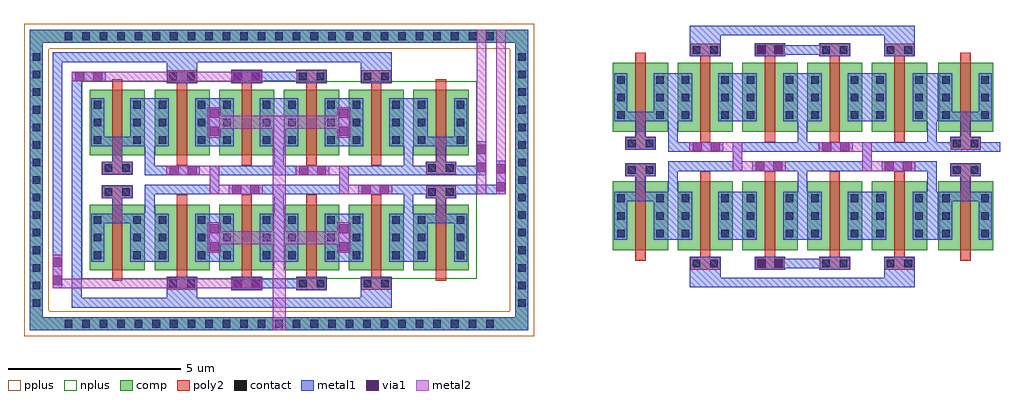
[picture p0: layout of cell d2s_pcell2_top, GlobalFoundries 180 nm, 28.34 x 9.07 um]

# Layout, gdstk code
import gdstk
lib = gdstk.Library(unit=1e-6, precision=5e-09)
def R(c, l, rs):  # rectangles x0, y0, x1, y1
    for r in rs: c.add(gdstk.rectangle(r[:2], r[2:], *l))
def A(c, l, x, y, w, h, nx, ny, dx, dy):  # array of equal rectangles
    R(c, l, [(x+i*dx, y+j*dy, x+i*dx+w, y+j*dy+h) for i in range(nx) for j in range(ny)])
comp = (22, 0)
poly2 = (30, 0)
pplus = (31, 0)
nplus = (32, 0)
contact = (33, 0)
metal1 = (34, 0)
via1 = (35, 0)
metal2 = (36, 0)

d2s_pcell2_1_1 = lib.new_cell('d2s_pcell2_1$1')
R(d2s_pcell2_1_1, comp, [(0,0.3,0.46,2.3), (0.46,0.3,1.14,2.3), (1.14,0.3,1.6,2.3)])
R(d2s_pcell2_1_1, poly2, [(0.65,0,0.95,2.6)])
A(d2s_pcell2_1_1, contact, 0.12, 0.68, 0.22, 0.22, 1, 3, 0, 0.51)
A(d2s_pcell2_1_1, contact, 1.26, 0.68, 0.22, 0.22, 1, 3, 0, 0.51)
R(d2s_pcell2_1_1, metal1, [(0.04,0.6,0.42,2), (1.18,0.6,1.56,2)])

d2s_pcell2_4 = lib.new_cell('d2s_pcell2_4')
A(d2s_pcell2_4, poly2, 2.245, 2.725, 0.87, 0.36, 4, 1, 1.88, 0)
R(d2s_pcell2_4, poly2, [(0.365,0.01,1.235,0.37), (9.805,0.01,10.675,0.37)])
R(d2s_pcell2_4, contact, [(0.435,0.08,0.655,0.3), (0.945,0.08,1.165,0.3), (9.875,0.08,10.095,0.3), (10.385,0.08,10.605,0.3), (2.315,2.795,2.535,3.015), (2.825,2.795,3.045,3.015), (4.195,2.795,4.415,3.015), (4.705,2.795,4.925,3.015), (6.075,2.795,6.295,3.015), (6.585,2.795,6.805,3.015), (7.955,2.795,8.175,3.015), (8.465,2.795,8.685,3.015)])
A(d2s_pcell2_4, metal1, 1.56, 0.825, 0.36, 1.4, 5, 1, 1.88, 0)
R(d2s_pcell2_4, metal1, [(0.355,0,1.245,0.38), (9.795,0,10.685,0.38), (2.235,2.715,3.125,3.605), (4.115,2.715,5.005,3.095), (5.995,2.715,6.885,3.095), (7.875,2.715,8.765,3.605)])
R(d2s_pcell2_4, via1, [(4.17,2.775,4.43,3.035), (4.69,2.775,4.95,3.035)])
d2s_pcell2_4.add(gdstk.FlexPath([(0.8,0.38),(0.8,0.825)], 0.28, ends="flush", simple_path=True, layer=34, datatype=0))  # metal1
d2s_pcell2_4.add(gdstk.FlexPath([(1.18,0.965),(0.42,0.965)], 0.28, ends="flush", simple_path=True, layer=34, datatype=0))  # metal1
d2s_pcell2_4.add(gdstk.FlexPath([(10.24,0.38),(10.24,0.825)], 0.28, ends="flush", simple_path=True, layer=34, datatype=0))  # metal1
d2s_pcell2_4.add(gdstk.FlexPath([(10.62,0.965),(9.86,0.965)], 0.28, ends="flush", simple_path=True, layer=34, datatype=0))  # metal1
d2s_pcell2_4.add(gdstk.FlexPath([(5.995,2.905),(5.005,2.905)], 0.28, ends="flush", simple_path=True, layer=34, datatype=0))  # metal1
d2s_pcell2_4.add(gdstk.FlexPath([(8.765,3.465),(2.235,3.465)], 0.28, ends="flush", simple_path=True, layer=34, datatype=0))  # metal1
d2s_pcell2_4.add(gdstk.Reference(d2s_pcell2_1_1, (0,0.225)))
d2s_pcell2_4.add(gdstk.Reference(d2s_pcell2_1_1, (1.88,0.225)))
d2s_pcell2_4.add(gdstk.Reference(d2s_pcell2_1_1, (3.76,0.225)))
d2s_pcell2_4.add(gdstk.Reference(d2s_pcell2_1_1, (5.64,0.225)))
d2s_pcell2_4.add(gdstk.Reference(d2s_pcell2_1_1, (7.52,0.225)))
d2s_pcell2_4.add(gdstk.Reference(d2s_pcell2_1_1, (9.44,0.225)))

d2s_ncell_1_1_1 = lib.new_cell('d2s_ncell_1$1$1')
R(d2s_ncell_1_1_1, comp, [(0,0.3,0.46,2.2), (0.46,0.3,1.14,2.2), (1.14,0.3,1.6,2.2)])
R(d2s_ncell_1_1_1, poly2, [(0.65,0,0.95,2.5)])
A(d2s_ncell_1_1_1, contact, 0.12, 0.63, 0.22, 0.22, 1, 3, 0, 0.51)
A(d2s_ncell_1_1_1, contact, 1.26, 0.63, 0.22, 0.22, 1, 3, 0, 0.51)
R(d2s_ncell_1_1_1, metal1, [(0.04,0.55,0.42,1.95), (1.18,0.55,1.56,1.95)])

d2s_ncell_4_1 = lib.new_cell('d2s_ncell_4$1')
A(d2s_ncell_4_1, poly2, 2.245, 2.4, 0.87, 0.36, 4, 1, 1.88, 0)
R(d2s_ncell_4_1, poly2, [(0.365,-0.26,1.235,0.1), (9.765,-0.26,10.635,0.1)])
R(d2s_ncell_4_1, contact, [(0.435,-0.19,0.655,0.03), (0.945,-0.19,1.165,0.03), (9.835,-0.19,10.055,0.03), (10.345,-0.19,10.565,0.03), (2.315,2.47,2.535,2.69), (2.825,2.47,3.045,2.69), (4.195,2.47,4.415,2.69), (4.705,2.47,4.925,2.69), (6.075,2.47,6.295,2.69), (6.585,2.47,6.805,2.69), (7.955,2.47,8.175,2.69), (8.465,2.47,8.685,2.69)])
A(d2s_ncell_4_1, metal1, 1.56, 0.55, 0.36, 1.4, 5, 1, 1.88, 0)
R(d2s_ncell_4_1, metal1, [(0.355,-0.27,1.245,0.11), (9.755,-0.27,10.645,0.11), (2.235,2.39,3.125,3.28), (4.115,2.39,5.005,2.77), (5.995,2.39,6.885,2.77), (7.875,2.39,8.765,3.28)])
R(d2s_ncell_4_1, via1, [(3.49,0.86,3.75,1.12), (7.25,0.86,7.51,1.12), (3.49,1.38,3.75,1.64), (7.25,1.38,7.51,1.64), (4.17,2.45,4.43,2.71), (4.69,2.45,4.95,2.71)])
R(d2s_ncell_4_1, metal2, [(3.43,0.805,3.81,1.695), (7.19,0.805,7.57,1.695)])
d2s_ncell_4_1.add(gdstk.FlexPath([(0.8,0.11),(0.8,0.55)], 0.28, ends="flush", simple_path=True, layer=34, datatype=0))  # metal1
d2s_ncell_4_1.add(gdstk.FlexPath([(0.42,0.69),(1.18,0.69)], 0.28, ends="flush", simple_path=True, layer=34, datatype=0))  # metal1
d2s_ncell_4_1.add(gdstk.FlexPath([(9.82,0.69),(10.58,0.69)], 0.28, ends="flush", simple_path=True, layer=34, datatype=0))  # metal1
d2s_ncell_4_1.add(gdstk.FlexPath([(10.2,0.11),(10.2,0.55)], 0.28, ends="flush", simple_path=True, layer=34, datatype=0))  # metal1
d2s_ncell_4_1.add(gdstk.FlexPath([(5.995,2.58),(5.005,2.58)], 0.28, ends="flush", simple_path=True, layer=34, datatype=0))  # metal1
d2s_ncell_4_1.add(gdstk.FlexPath([(8.765,3.14),(2.235,3.14)], 0.28, ends="flush", simple_path=True, layer=34, datatype=0))  # metal1
d2s_ncell_4_1.add(gdstk.FlexPath([(3.81,1.25),(7.19,1.25)], 0.38, ends="flush", simple_path=True, layer=36, datatype=0))  # metal2
d2s_ncell_4_1.add(gdstk.Reference(d2s_ncell_1_1_1, (0,0)))
d2s_ncell_4_1.add(gdstk.Reference(d2s_ncell_1_1_1, (1.88,0)))
d2s_ncell_4_1.add(gdstk.Reference(d2s_ncell_1_1_1, (3.76,0)))
d2s_ncell_4_1.add(gdstk.Reference(d2s_ncell_1_1_1, (5.64,0)))
d2s_ncell_4_1.add(gdstk.Reference(d2s_ncell_1_1_1, (7.52,0)))
d2s_ncell_4_1.add(gdstk.Reference(d2s_ncell_1_1_1, (9.4,0)))

d2s_pcell2_top = lib.new_cell('d2s_pcell2_top')
R(d2s_pcell2_top, nplus, [(-13.66,0.85,-2.18,6.58)])
A(d2s_pcell2_top, contact, -14.15, -0.57, 0.22, 0.22, 25, 2, 0.51, 8.35)
A(d2s_pcell2_top, contact, -15.08, 0.035, 0.22, 0.22, 1, 15, 0, 0.51)
A(d2s_pcell2_top, contact, -0.98, 0.035, 0.22, 0.22, 1, 15, 0, 0.51)
R(d2s_pcell2_top, via1, [(-14.49,0.67,-14.23,0.93), (-14.49,1.19,-14.23,1.45), (-9.28,3.305,-9.02,3.565), (-8.76,3.305,-8.5,3.565), (-5.52,3.305,-5.26,3.565), (-5,3.305,-4.74,3.565), (-1.61,3.395,-1.35,3.655), (-1.61,3.395,-1.35,3.655), (-11.1,3.865,-10.84,4.125), (-10.58,3.865,-10.32,4.125), (-7.34,3.865,-7.08,4.125), (-6.82,3.865,-6.56,4.125), (-1.61,3.915,-1.35,4.175), (-1.61,3.915,-1.35,4.175), (-2.17,3.955,-1.91,4.215), (-2.17,3.955,-1.91,4.215), (5.915,3.985,6.175,4.245), (6.435,3.985,6.695,4.245), (9.675,3.985,9.935,4.245), (10.195,3.985,10.455,4.245), (-2.17,4.475,-1.91,4.735), (-2.17,4.475,-1.91,4.735), (4.095,4.545,4.355,4.805), (4.615,4.545,4.875,4.805), (7.855,4.545,8.115,4.805), (8.375,4.545,8.635,4.805), (-13.84,6.59,-13.58,6.85), (-13.32,6.59,-13.06,6.85)])
d2s_pcell2_top.add(gdstk.FlexPath([(-13.8,6.86),(-13.8,0.29)], 0.28, ends="flush", simple_path=True, layer=34, datatype=0))  # metal1
d2s_pcell2_top.add(gdstk.FlexPath([(-14.36,7.42),(-14.36,0.57)], 0.28, ends="flush", simple_path=True, layer=34, datatype=0))  # metal1
d2s_pcell2_top.add(gdstk.FlexPath([(-2.04,4.835),(-2.04,3.855)], 0.28, ends="flush", simple_path=True, layer=34, datatype=0))  # metal1
d2s_pcell2_top.add(gdstk.FlexPath([(-4.02,3.435),(-1.62,3.435)], 0.28, ends="flush", simple_path=True, layer=34, datatype=0))  # metal1
d2s_pcell2_top.add(gdstk.FlexPath([(-1.48,4.275),(-1.48,3.295)], 0.28, ends="flush", simple_path=True, layer=34, datatype=0))  # metal1
d2s_pcell2_top.add(gdstk.FlexPath([(-12.96,6.72),(-13.94,6.72)], 0.28, ends="flush", simple_path=True, layer=34, datatype=0))  # metal1
d2s_pcell2_top.add(gdstk.FlexPath([(-11.185,7.28),(-14.22,7.28)], 0.28, ends="flush", simple_path=True, layer=34, datatype=0))  # metal1
d2s_pcell2_top.add(gdstk.FlexPath([(-11.185,0.15),(-13.94,0.15)], 0.28, ends="flush", simple_path=True, layer=34, datatype=0))  # metal1
d2s_pcell2_top.add(gdstk.FlexPath([(-0.87,8.08),(-0.87,-0.46),(-14.97,-0.46),(-14.97,7.89),(-1.06,7.89)], 0.38, ends="flush", simple_path=True, layer=34, datatype=0))  # metal1
d2s_pcell2_top.add(gdstk.FlexPath([(-4.16,4.69),(-4.16,4.135)], 0.28, ends="flush", simple_path=True, layer=34, datatype=0))  # metal1
d2s_pcell2_top.add(gdstk.FlexPath([(-7.92,4.69),(-7.92,4.135)], 0.28, ends="flush", simple_path=True, layer=34, datatype=0))  # metal1
d2s_pcell2_top.add(gdstk.FlexPath([(-11.68,4.69),(-11.68,4.135)], 0.28, ends="flush", simple_path=True, layer=34, datatype=0))  # metal1
d2s_pcell2_top.add(gdstk.FlexPath([(-8.4,3.995),(-9.8,3.995),(-9.8,3.435),(-11.2,3.435)], 0.28, ends="flush", simple_path=True, layer=34, datatype=0))  # metal1
d2s_pcell2_top.add(gdstk.FlexPath([(-10.22,3.995),(-11.2,3.995)], 0.28, ends="flush", simple_path=True, layer=34, datatype=0))  # metal1
d2s_pcell2_top.add(gdstk.FlexPath([(-8.4,3.435),(-9.38,3.435)], 0.28, ends="flush", simple_path=True, layer=34, datatype=0))  # metal1
d2s_pcell2_top.add(gdstk.FlexPath([(-8.4,3.995),(-7.44,3.995)], 0.28, ends="flush", simple_path=True, layer=34, datatype=0))  # metal1
d2s_pcell2_top.add(gdstk.FlexPath([(-8.4,3.435),(-7.44,3.435)], 0.28, ends="flush", simple_path=True, layer=34, datatype=0))  # metal1
d2s_pcell2_top.add(gdstk.FlexPath([(-11.2,3.995),(-11.82,3.995)], 0.28, ends="flush", simple_path=True, layer=34, datatype=0))  # metal1
d2s_pcell2_top.add(gdstk.FlexPath([(-11.2,3.435),(-11.82,3.435)], 0.28, ends="flush", simple_path=True, layer=34, datatype=0))  # metal1
d2s_pcell2_top.add(gdstk.FlexPath([(-7.92,4.69),(-7.92,4.135)], 0.28, ends="flush", simple_path=True, layer=34, datatype=0))  # metal1
d2s_pcell2_top.add(gdstk.FlexPath([(-4.64,3.995),(-6.04,3.995),(-6.04,3.435),(-7.44,3.435)], 0.28, ends="flush", simple_path=True, layer=34, datatype=0))  # metal1
d2s_pcell2_top.add(gdstk.FlexPath([(-6.46,3.995),(-7.44,3.995)], 0.28, ends="flush", simple_path=True, layer=34, datatype=0))  # metal1
d2s_pcell2_top.add(gdstk.FlexPath([(-4.64,3.435),(-5.62,3.435)], 0.28, ends="flush", simple_path=True, layer=34, datatype=0))  # metal1
d2s_pcell2_top.add(gdstk.FlexPath([(-4.02,3.995),(-4.64,3.995)], 0.28, ends="flush", simple_path=True, layer=34, datatype=0))  # metal1
d2s_pcell2_top.add(gdstk.FlexPath([(-4.02,3.435),(-4.64,3.435)], 0.28, ends="flush", simple_path=True, layer=34, datatype=0))  # metal1
d2s_pcell2_top.add(gdstk.FlexPath([(-4.16,3.295),(-4.16,2.74)], 0.28, ends="flush", simple_path=True, layer=34, datatype=0))  # metal1
d2s_pcell2_top.add(gdstk.FlexPath([(-7.92,3.295),(-7.92,2.74)], 0.28, ends="flush", simple_path=True, layer=34, datatype=0))  # metal1
d2s_pcell2_top.add(gdstk.FlexPath([(-11.68,3.295),(-11.68,2.74)], 0.28, ends="flush", simple_path=True, layer=34, datatype=0))  # metal1
d2s_pcell2_top.add(gdstk.FlexPath([(-7.92,3.295),(-7.92,2.74)], 0.28, ends="flush", simple_path=True, layer=34, datatype=0))  # metal1
d2s_pcell2_top.add(gdstk.FlexPath([(-4.02,3.995),(-2.18,3.995)], 0.28, ends="flush", simple_path=True, layer=34, datatype=0))  # metal1
d2s_pcell2_top.add(gdstk.FlexPath([(11.035,5.415),(11.035,4.815)], 0.28, ends="flush", simple_path=True, layer=34, datatype=0))  # metal1
d2s_pcell2_top.add(gdstk.FlexPath([(7.275,5.415),(7.275,4.815)], 0.28, ends="flush", simple_path=True, layer=34, datatype=0))  # metal1
d2s_pcell2_top.add(gdstk.FlexPath([(3.515,5.415),(3.515,4.815)], 0.28, ends="flush", simple_path=True, layer=34, datatype=0))  # metal1
d2s_pcell2_top.add(gdstk.FlexPath([(6.795,4.675),(5.395,4.675),(5.395,4.115),(3.995,4.115)], 0.28, ends="flush", simple_path=True, layer=34, datatype=0))  # metal1
d2s_pcell2_top.add(gdstk.FlexPath([(4.975,4.675),(3.995,4.675)], 0.28, ends="flush", simple_path=True, layer=34, datatype=0))  # metal1
d2s_pcell2_top.add(gdstk.FlexPath([(6.795,4.115),(5.815,4.115)], 0.28, ends="flush", simple_path=True, layer=34, datatype=0))  # metal1
d2s_pcell2_top.add(gdstk.FlexPath([(6.795,4.675),(7.755,4.675)], 0.28, ends="flush", simple_path=True, layer=34, datatype=0))  # metal1
d2s_pcell2_top.add(gdstk.FlexPath([(6.795,4.115),(7.755,4.115)], 0.28, ends="flush", simple_path=True, layer=34, datatype=0))  # metal1
d2s_pcell2_top.add(gdstk.FlexPath([(3.995,4.675),(3.375,4.675)], 0.28, ends="flush", simple_path=True, layer=34, datatype=0))  # metal1
d2s_pcell2_top.add(gdstk.FlexPath([(3.995,4.115),(3.375,4.115)], 0.28, ends="flush", simple_path=True, layer=34, datatype=0))  # metal1
d2s_pcell2_top.add(gdstk.FlexPath([(7.275,5.415),(7.275,4.815)], 0.28, ends="flush", simple_path=True, layer=34, datatype=0))  # metal1
d2s_pcell2_top.add(gdstk.FlexPath([(10.555,4.675),(9.155,4.675),(9.155,4.115),(7.755,4.115)], 0.28, ends="flush", simple_path=True, layer=34, datatype=0))  # metal1
d2s_pcell2_top.add(gdstk.FlexPath([(8.735,4.675),(7.755,4.675)], 0.28, ends="flush", simple_path=True, layer=34, datatype=0))  # metal1
d2s_pcell2_top.add(gdstk.FlexPath([(10.555,4.115),(9.575,4.115)], 0.28, ends="flush", simple_path=True, layer=34, datatype=0))  # metal1
d2s_pcell2_top.add(gdstk.FlexPath([(11.175,4.675),(10.555,4.675)], 0.28, ends="flush", simple_path=True, layer=34, datatype=0))  # metal1
d2s_pcell2_top.add(gdstk.FlexPath([(11.175,4.115),(10.555,4.115)], 0.28, ends="flush", simple_path=True, layer=34, datatype=0))  # metal1
d2s_pcell2_top.add(gdstk.FlexPath([(11.035,3.975),(11.035,3.375)], 0.28, ends="flush", simple_path=True, layer=34, datatype=0))  # metal1
d2s_pcell2_top.add(gdstk.FlexPath([(7.275,3.975),(7.275,3.375)], 0.28, ends="flush", simple_path=True, layer=34, datatype=0))  # metal1
d2s_pcell2_top.add(gdstk.FlexPath([(3.515,3.975),(3.515,3.375)], 0.28, ends="flush", simple_path=True, layer=34, datatype=0))  # metal1
d2s_pcell2_top.add(gdstk.FlexPath([(7.275,3.975),(7.275,3.375)], 0.28, ends="flush", simple_path=True, layer=34, datatype=0))  # metal1
d2s_pcell2_top.add(gdstk.FlexPath([(11.175,4.675),(13.015,4.675)], 0.28, ends="flush", simple_path=True, layer=34, datatype=0))  # metal1
d2s_pcell2_top.add(gdstk.FlexPath([(-2.04,4.835),(-2.04,3.855)], 0.28, ends="flush", simple_path=True, layer=34, datatype=0))  # metal1
d2s_pcell2_top.add(gdstk.FlexPath([(-1.48,4.275),(-1.48,3.295)], 0.28, ends="flush", simple_path=True, layer=34, datatype=0))  # metal1
d2s_pcell2_top.add(gdstk.FlexPath([(-0.87,8.08),(-0.87,-0.46),(-14.97,-0.46),(-14.97,7.89),(-1.06,7.89)], 0.38, ends="flush", simple_path=True, layer=22, datatype=0))  # comp
d2s_pcell2_top.add(gdstk.FlexPath([(-8.41,6.72),(-13.94,6.72)], 0.28, ends="flush", simple_path=True, layer=36, datatype=0))  # metal2
d2s_pcell2_top.add(gdstk.FlexPath([(-8.41,0.71),(-14.22,0.71)], 0.28, ends="flush", simple_path=True, layer=36, datatype=0))  # metal2
d2s_pcell2_top.add(gdstk.FlexPath([(-1.48,8.08),(-1.48,3.295)], 0.28, ends="flush", simple_path=True, layer=36, datatype=0))  # metal2
d2s_pcell2_top.add(gdstk.FlexPath([(-2.04,4.835),(-2.04,3.855)], 0.28, ends="flush", simple_path=True, layer=36, datatype=0))  # metal2
d2s_pcell2_top.add(gdstk.FlexPath([(-1.48,4.275),(-1.48,3.295)], 0.28, ends="flush", simple_path=True, layer=36, datatype=0))  # metal2
d2s_pcell2_top.add(gdstk.FlexPath([(-2.04,8.08),(-2.04,3.295)], 0.28, ends="flush", simple_path=True, layer=36, datatype=0))  # metal2
d2s_pcell2_top.add(gdstk.FlexPath([(-14.36,0.57),(-14.36,1.55)], 0.28, ends="flush", simple_path=True, layer=36, datatype=0))  # metal2
d2s_pcell2_top.add(gdstk.FlexPath([(-4.64,3.435),(-6.04,3.435),(-6.04,3.995),(-7.44,3.995)], 0.28, ends="flush", simple_path=True, layer=36, datatype=0))  # metal2
d2s_pcell2_top.add(gdstk.FlexPath([(-8.4,3.435),(-9.8,3.435),(-9.8,3.995),(-11.2,3.995)], 0.28, ends="flush", simple_path=True, layer=36, datatype=0))  # metal2
d2s_pcell2_top.add(gdstk.FlexPath([(-7.92,5.2),(-7.92,-0.65)], 0.38, ends="flush", simple_path=True, layer=36, datatype=0))  # metal2
d2s_pcell2_top.add(gdstk.FlexPath([(10.555,4.115),(9.155,4.115),(9.155,4.675),(7.755,4.675)], 0.28, ends="flush", simple_path=True, layer=36, datatype=0))  # metal2
d2s_pcell2_top.add(gdstk.FlexPath([(6.795,4.115),(5.395,4.115),(5.395,4.675),(3.995,4.675)], 0.28, ends="flush", simple_path=True, layer=36, datatype=0))  # metal2
d2s_pcell2_top.add(gdstk.FlexPath([(-1.48,8.08),(-1.48,3.295)], 0.28, ends="flush", simple_path=True, layer=36, datatype=0))  # metal2
d2s_pcell2_top.add(gdstk.FlexPath([(-2.04,4.835),(-2.04,3.855)], 0.28, ends="flush", simple_path=True, layer=36, datatype=0))  # metal2
d2s_pcell2_top.add(gdstk.FlexPath([(-1.48,4.275),(-1.48,3.295)], 0.28, ends="flush", simple_path=True, layer=36, datatype=0))  # metal2
d2s_pcell2_top.add(gdstk.FlexPath([(-2.04,8.08),(-2.04,3.295)], 0.28, ends="flush", simple_path=True, layer=36, datatype=0))  # metal2
d2s_pcell2_top.add(gdstk.FlexPath([(-0.87,8.25),(-0.87,-0.46),(-14.97,-0.46),(-14.97,7.89),(-1.07,7.89)], 0.72, ends="flush", simple_path=True, layer=31, datatype=0))  # pplus
d2s_pcell2_top.add(gdstk.Reference(d2s_pcell2_4, (1.775,4.2), x_reflection=True))
d2s_pcell2_top.add(gdstk.Reference(d2s_pcell2_4, (1.775,4.59)))
d2s_pcell2_top.add(gdstk.Reference(d2s_ncell_4_1, (-13.42,4.14)))
d2s_pcell2_top.add(gdstk.Reference(d2s_ncell_4_1, (-13.42,3.29), x_reflection=True))

lib.write_gds('d2s_pcell2_top.gds')
